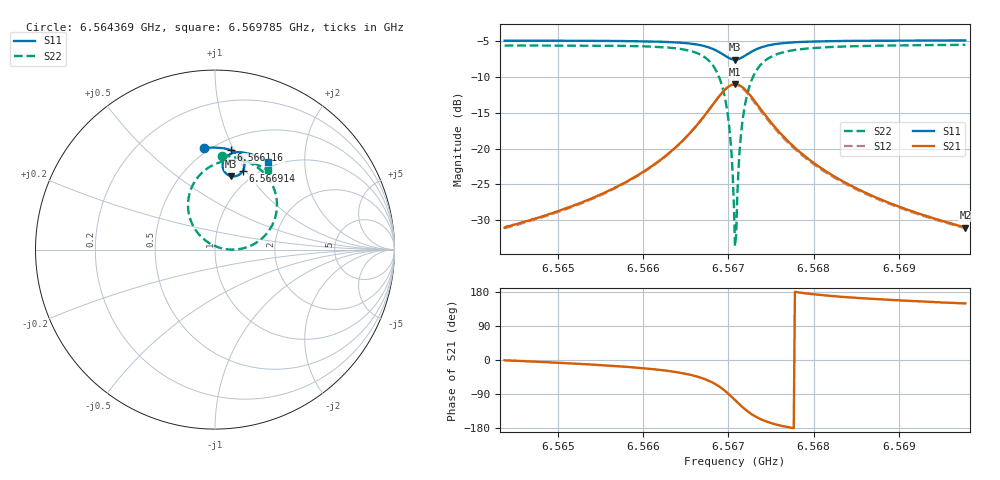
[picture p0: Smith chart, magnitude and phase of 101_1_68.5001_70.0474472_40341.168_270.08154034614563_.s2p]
#  HZ  S  RI  R  50.00
! Rohde & Schwarz Vector Network Analyzer
! Rohde-Schwarz,ZNB20-2Port,1311601062101988,3.16
! Created: UTC 3/20/2024, 5:08:12 PM
! freq[Hz]  re:S11  im:S11  re:S21  im:S21  re:S12  im:S12  re:S22  im:S22
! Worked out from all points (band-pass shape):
!   401 points, 6.564369 GHz to 6.569785 GHz, reference 50 ohm
!   highest |S21| = -11.00 dB at 6.567077 GHz (marker M1); lowest = -31.1 dB at 6.569785 GHz (marker M2)
!   |S21| within 3 dB of the highest: 6.566807 GHz to 6.567348 GHz (540.3 kHz wide, 0.00823 % of centre)
!   lowest |S11| = -7.6 dB at 6.567077 GHz (marker M3), VSWR 2.44, Z = 41.4 + j41.1 ohm
!   |S11| at or under -10 dB: nowhere
!   |S22| runs from -33.7 to -5.5 dB; largest |S21 - S12| = 0.013
!   S11 on the Smith chart (normalised r, x): 6.564369 GHz: 0.47, +0.78; 6.566116 GHz: 0.60, +0.98; 6.566914 GHz: 0.87, +0.97; 6.569785 GHz: 0.91, +1.33
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6.564369e9  -0.0619 0.5656  0.0279 -0.000366  0.0276 -0.000829  0.0378 0.524
6.5652761e9  0.0125 0.5677  0.0412 -0.00769  0.0405 -0.00836  0.1237 0.5107
6.5661156e9  0.0908 0.5539  0.0697 -0.0314  0.0686 -0.0323  0.233 0.4608
6.5661833e9  0.0979 0.5512  0.0735 -0.0357  0.0724 -0.0367  0.2447 0.452
6.5664811e9  0.1323 0.5319  0.0946 -0.0681  0.0932 -0.0694  0.3035 0.3882
6.5666978e9  0.1575 0.5005  0.1085 -0.1224  0.106 -0.125  0.3432 0.2831
6.5668196e9  0.164 0.4693  0.1011 -0.1773  0.0968 -0.1807  0.3355 0.1786
6.5669144e9  0.1549 0.4377  0.0684 -0.2315  0.0607 -0.2346  0.2769 0.0769
6.5669685e9  0.1398 0.4206  0.0313 -0.2596  0.0215 -0.2611  0.209 0.0264
6.5670092e9  0.1233 0.4115  -0.00555 -0.2732  -0.0171 -0.2725  0.1415 0.00387
6.5670362e9  0.1102 0.4084  -0.0332 -0.2766  -0.0453 -0.274  0.0914 -3.08e-05
6.5670633e9  0.0968 0.4081  -0.0621 -0.2746  -0.0738 -0.2698  0.0404 0.00626
6.5670768e9  0.0899 0.4093  -0.0763 -0.2714  -0.0878 -0.2656  0.0156 0.0136
6.5671039e9  0.0769 0.4136  -0.1033 -0.2608  -0.1141 -0.2532  -0.0307 0.0354
6.567131e9  0.0655 0.4207  -0.1273 -0.2455  -0.1366 -0.2361  -0.0708 0.0654
6.5671716e9  0.0523 0.4349  -0.1555 -0.2163  -0.162 -0.2053  -0.1153 0.1205
6.5672258e9  0.0433 0.4568  -0.1769 -0.1729  -0.1798 -0.1617  -0.1458 0.1991
6.5672935e9  0.0435 0.4824  -0.1828 -0.1231  -0.1827 -0.1133  -0.1472 0.2865
6.5675372e9  0.0808 0.5306  -0.1403 -0.0277  -0.1374 -0.0234  -0.0505 0.4467
6.567984e9  0.144 0.5422  -0.0801 0.00864  -0.0784 0.00996  0.086 0.4974
6.5688911e9  0.2285 0.5213  -0.0387 0.0149  -0.0379 0.0154  0.216 0.4795
6.5697847e9  0.2943 0.4891  -0.024 0.0142  -0.0235 0.0145  0.2942 0.4433
